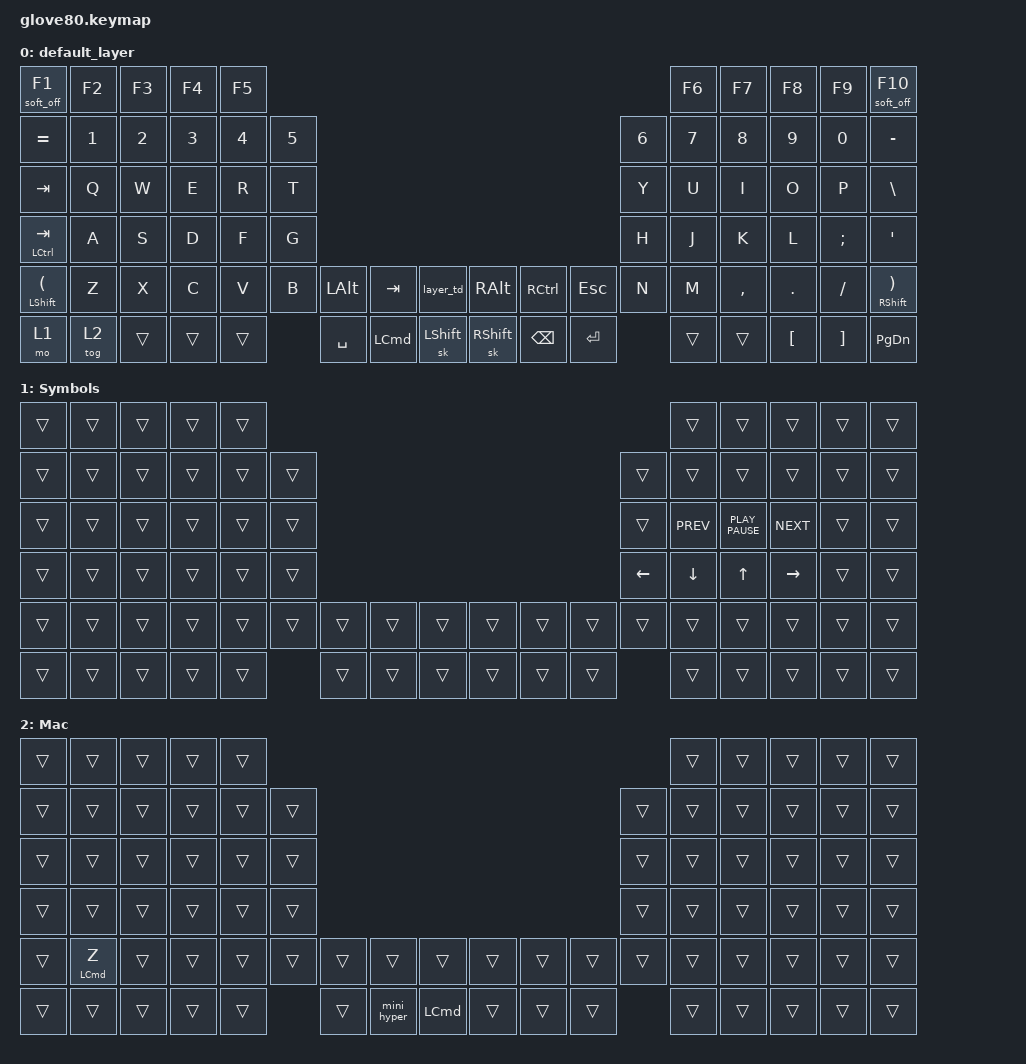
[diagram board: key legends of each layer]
/*
 * Copyright (c) 2020 The ZMK Contributors
 *
 * SPDX-License-Identifier: MIT
 */

#include <behaviors.dtsi>
#include <dt-bindings/zmk/bt.h>
#include <dt-bindings/zmk/keys.h>
#include <dt-bindings/zmk/outputs.h>

// layers

#define DEFAULT 0
#define LOWER 1
#define MAGIC 2

/ {
    behaviors {
        // For the "layer" key, it'd nice to be able to use it as either a shift or a toggle.
        // Configure it as a tap dance, so the first tap (or hold) is a &mo and the second tap is a &to

        layer_td: tap_dance_0 {
            compatible = "zmk,behavior-tap-dance";
            #binding-cells = <0>;
            tapping-term-ms = <200>;
            bindings = <&mo 1>, <&to 0>;
        };

        soft_off_mt: soft_off_mt {
            compatible = "zmk,behavior-hold-tap";
            label = "SOFT_OFF_MT";
            bindings = <&soft_off>, <&kp>;

            #binding-cells = <2>;
            tapping-term-ms = <1000>;
        };
    };

    macros {
        bt_0: bt_profile_macro_0 {
            compatible = "zmk,behavior-macro";
            #binding-cells = <0>;
            bindings = <&out OUT_BLE &bt BT_SEL 0>;
        };

        bt_1: bt_profile_macro_1 {
            compatible = "zmk,behavior-macro";
            #binding-cells = <0>;
            bindings = <&out OUT_BLE &bt BT_SEL 1>;
        };

        bt_2: bt_profile_macro_2 {
            compatible = "zmk,behavior-macro";
            #binding-cells = <0>;
            bindings = <&out OUT_BLE &bt BT_SEL 2>;
        };

        bt_3: bt_profile_macro_3 {
            compatible = "zmk,behavior-macro";
            #binding-cells = <0>;
            bindings = <&out OUT_BLE &bt BT_SEL 3>;
        };

        mini_hyper: mini_hyper {
            compatible = "zmk,behavior-macro";
            #binding-cells = <0>;
            bindings = <&kp LEFT_COMMAND &kp LCTRL &kp LEFT_ALT>;
            label = "MINI_HYPER";
        };
    };

    keymap {
        compatible = "zmk,keymap";

        default_layer {
            // ---------------------------------------------------------------------------------------------------------------------------------
            // |  F1   |  F2 |  F3 |  F4  |  F5  |                                                               |  F6   |  F7   |  F8  |   F9  |  F10 |
            // |  =    |  1  |  2  |  3   |  4   |  5   |                                                 |  6   |   7   |   8   |  9   |   0   |   -  |
            // |  TAB  |  Q  |  W  |  E   |  R   |  T   |                                                 |  Y   |   U   |   I   |  O   |   P   |   \  |
            // |  ESC  |  A  |  S  |  D   |  F   |  G   |                                                 |  H   |   J   |   K   |  L   |   ;   |   '  |
            // |   `   |  Z  |  X  |  C   |  V   |  B   | LSHFT | LCTRL | LOWER | | LGUI  | RCTRL | RSHFT |  N   |   M   |   ,   |  .   |   /   | PGUP |
            // | MAGIC | HOME| END | LEFT | RIGHT|      | BSPC  | DEL   | LALT  | | RALT  | RET   | SPACE |      |  UP   | DOWN  |  [   |   ]   | PGDN |

            bindings = <
&soft_off_mt 0 F1                &kp F2  &kp F3  &kp F4  &kp F5                                                                                                                &kp F6  &kp F7     &kp F8    &kp F9    &soft_off_mt 0 F10
&kp EQUAL                        &kp N1  &kp N2  &kp N3  &kp N4  &kp N5                                                                                                &kp N6  &kp N7  &kp N8     &kp N9    &kp N0    &kp MINUS
&kp TAB                          &kp Q   &kp W   &kp E   &kp R   &kp T                                                                                                 &kp Y   &kp U   &kp I      &kp O     &kp P     &kp BSLH
&mt LCTRL TAB                    &kp A   &kp S   &kp D   &kp F   &kp G                                                                                                 &kp H   &kp J   &kp K      &kp L     &kp SEMI  &kp SQT
&mt LEFT_SHIFT LEFT_PARENTHESIS  &kp Z   &kp X   &kp C   &kp V   &kp B   &kp LEFT_ALT  &kp TAB           &layer_td         &kp RIGHT_ALT    &kp RCTRL      &kp ESCAPE  &kp N   &kp M   &kp COMMA  &kp DOT   &kp FSLH  &mt RIGHT_SHIFT RIGHT_PARENTHESIS
&mo 1                            &tog 2  &trans  &trans  &trans          &kp SPACE     &kp LEFT_COMMAND  &sk LEFT_SHIFT    &sk RIGHT_SHIFT  &kp BACKSPACE  &kp RET             &trans  &trans     &kp LBKT  &kp RBKT  &kp PG_DN
            >;
        };

        Symbols {
            bindings = <
&trans  &trans  &trans  &trans  &trans                                                                      &trans      &trans            &trans      &trans  &trans
&trans  &trans  &trans  &trans  &trans  &trans                                                    &trans    &trans      &trans            &trans      &trans  &trans
&trans  &trans  &trans  &trans  &trans  &trans                                                    &trans    &kp K_PREV  &kp K_PLAY_PAUSE  &kp K_NEXT  &trans  &trans
&trans  &trans  &trans  &trans  &trans  &trans                                                    &kp LEFT  &kp DOWN    &kp UP            &kp RIGHT   &trans  &trans
&trans  &trans  &trans  &trans  &trans  &trans  &trans  &trans  &trans    &trans  &trans  &trans  &trans    &trans      &trans            &trans      &trans  &trans
&trans  &trans  &trans  &trans  &trans          &trans  &trans  &trans    &trans  &trans  &trans            &trans      &trans            &trans      &trans  &trans
            >;
        };

        Mac {
            bindings = <
&trans  &trans              &trans  &trans  &trans                                                                                   &trans  &trans  &trans  &trans  &trans
&trans  &trans              &trans  &trans  &trans  &trans                                                                   &trans  &trans  &trans  &trans  &trans  &trans
&trans  &trans              &trans  &trans  &trans  &trans                                                                   &trans  &trans  &trans  &trans  &trans  &trans
&trans  &trans              &trans  &trans  &trans  &trans                                                                   &trans  &trans  &trans  &trans  &trans  &trans
&trans  &mt LEFT_COMMAND Z  &trans  &trans  &trans  &trans  &trans  &trans       &trans              &trans  &trans  &trans  &trans  &trans  &trans  &trans  &trans  &trans
&trans  &trans              &trans  &trans  &trans          &trans  &mini_hyper  &kp LEFT_COMMAND    &trans  &trans  &trans          &trans  &trans  &trans  &trans  &trans
            >;
        };
    };
};
